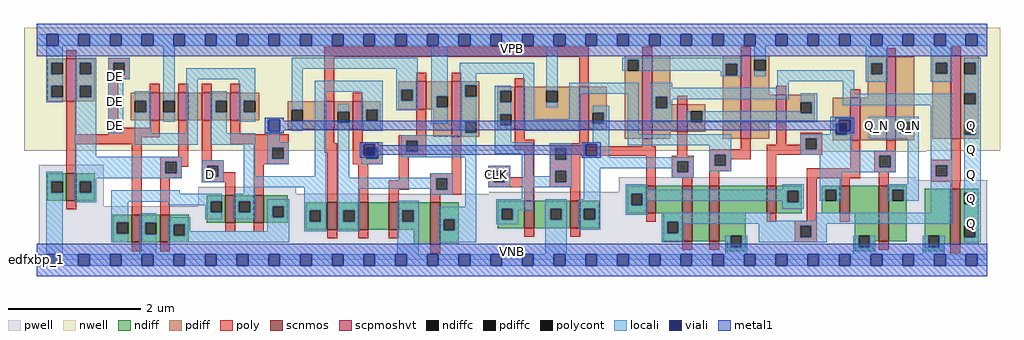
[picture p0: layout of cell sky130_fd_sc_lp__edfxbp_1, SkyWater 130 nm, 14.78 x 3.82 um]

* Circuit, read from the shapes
.subckt sky130_fd_sc_lp__edfxbp_1 CLK D DE VGND VNB VPB VPWR Q Q_N
XM1 n1 DE VGND VNB sky130_fd_pr__nfet_01v8 w=0.42 l=0.15
XM2 VGND DE n2 VNB sky130_fd_pr__nfet_01v8 w=0.42 l=0.15
XM3 n3 n1 VGND VNB sky130_fd_pr__nfet_01v8 w=0.42 l=0.15
XM4 n4 D n2 VNB sky130_fd_pr__nfet_01v8 w=0.42 l=0.15
XM5 n3 n5 n4 VNB sky130_fd_pr__nfet_01v8 w=0.42 l=0.15
XM6 n6 n7 n4 VNB sky130_fd_pr__nfet_01v8 w=0.42 l=0.15
XM7 n8 n9 n6 VNB sky130_fd_pr__nfet_01v8 w=0.42 l=0.15
XM8 VGND n10 n8 VNB sky130_fd_pr__nfet_01v8 w=0.42 l=0.15
XM9 n10 n6 VGND VNB sky130_fd_pr__nfet_01v8 w=0.64 l=0.15
XM10 VGND CLK n7 VNB sky130_fd_pr__nfet_01v8 w=0.42 l=0.15
XM11 n9 n7 VGND VNB sky130_fd_pr__nfet_01v8 w=0.42 l=0.15
XM12 n11 n7 n12 VNB sky130_fd_pr__nfet_01v8 w=0.42 l=0.15
XM13 n13 n9 n11 VNB sky130_fd_pr__nfet_01v8 w=0.84 l=0.15
XM14 VGND n10 n13 VNB sky130_fd_pr__nfet_01v8 w=0.84 l=0.15
XM15 n12 n5 VGND VNB sky130_fd_pr__nfet_01v8 w=0.42 l=0.15
XM16 VGND n11 n5 VNB sky130_fd_pr__nfet_01v8 w=0.42 l=0.15
XM17 Q_N n5 VGND VNB sky130_fd_pr__nfet_01v8 w=0.84 l=0.15
XM18 Q n11 VGND VNB sky130_fd_pr__nfet_01v8 w=0.84 l=0.15
XM19 n1 DE VPWR VPB sky130_fd_pr__pfet_01v8_hvt w=0.64 l=0.15
XM20 VPWR DE n14 VPB sky130_fd_pr__pfet_01v8_hvt w=0.42 l=0.15
XM21 n15 n1 VPWR VPB sky130_fd_pr__pfet_01v8_hvt w=0.42 l=0.15
XM22 n4 D n15 VPB sky130_fd_pr__pfet_01v8_hvt w=0.42 l=0.15
XM23 n14 n5 n4 VPB sky130_fd_pr__pfet_01v8_hvt w=0.42 l=0.15
XM24 n6 n7 n16 VPB sky130_fd_pr__pfet_01v8_hvt w=0.42 l=0.15
XM25 n4 n9 n6 VPB sky130_fd_pr__pfet_01v8_hvt w=0.42 l=0.15
XM26 VPWR n10 n16 VPB sky130_fd_pr__pfet_01v8_hvt w=0.42 l=0.15
XM27 n10 n6 VPWR VPB sky130_fd_pr__pfet_01v8_hvt w=0.84 l=0.15
XM28 VPWR CLK n7 VPB sky130_fd_pr__pfet_01v8_hvt w=0.64 l=0.15
XM29 n9 n7 VPWR VPB sky130_fd_pr__pfet_01v8_hvt w=0.64 l=0.15
XM30 n11 n7 n17 VPB sky130_fd_pr__pfet_01v8_hvt w=1.26 l=0.15
XM31 n18 n9 n11 VPB sky130_fd_pr__pfet_01v8_hvt w=0.42 l=0.15
XM32 VPWR n10 n17 VPB sky130_fd_pr__pfet_01v8_hvt w=1.26 l=0.15
XM33 n18 n5 VPWR VPB sky130_fd_pr__pfet_01v8_hvt w=0.42 l=0.15
XM34 VPWR n11 n5 VPB sky130_fd_pr__pfet_01v8_hvt w=0.64 l=0.15
XM35 Q_N n5 VPWR VPB sky130_fd_pr__pfet_01v8_hvt w=1.26 l=0.15
XM36 Q n11 VPWR VPB sky130_fd_pr__pfet_01v8_hvt w=1.26 l=0.15
.ends

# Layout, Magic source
magic
tech sky130A
magscale 1 2
<< nwell >>
rect -38 331 2918 704
rect 2375 327 2695 331
<< pwell >>
rect 7 163 203 289
rect 1763 241 2662 251
rect 489 201 787 222
rect 1763 206 2879 241
rect 1371 201 2879 206
rect 489 163 2879 201
rect 7 49 2879 163
rect 0 0 2880 49
<< scnmos >>
rect 90 179 120 263
rect 288 53 318 137
rect 374 53 404 137
rect 572 112 602 196
rect 658 112 688 196
rect 880 91 910 175
rect 974 91 1004 175
rect 1067 91 1097 175
rect 1192 47 1222 175
rect 1477 96 1507 180
rect 1617 96 1647 180
rect 1846 141 1876 225
rect 1956 57 1986 225
rect 2038 57 2068 225
rect 2211 141 2241 225
rect 2433 141 2463 225
rect 2551 57 2581 225
rect 2768 47 2798 215
<< scpmoshvt >>
rect 90 481 120 609
rect 343 423 373 507
rect 429 423 459 507
rect 501 423 531 507
rect 587 423 617 507
rect 872 396 902 480
rect 958 396 988 480
rect 1150 457 1180 541
rect 1257 373 1287 541
rect 1449 396 1479 524
rect 1643 396 1673 524
rect 1835 367 1865 619
rect 1941 388 1971 472
rect 2133 367 2163 619
rect 2241 417 2271 501
rect 2465 363 2495 491
rect 2573 363 2603 615
rect 2769 367 2799 619
<< ndiff >>
rect 33 238 90 263
rect 33 204 45 238
rect 79 204 90 238
rect 33 179 90 204
rect 120 238 177 263
rect 120 204 131 238
rect 165 204 177 238
rect 120 179 177 204
rect 515 178 572 196
rect 515 144 527 178
rect 561 144 572 178
rect 231 114 288 137
rect 231 80 243 114
rect 277 80 288 114
rect 231 53 288 80
rect 318 112 374 137
rect 318 78 329 112
rect 363 78 374 112
rect 318 53 374 78
rect 404 108 461 137
rect 515 112 572 144
rect 602 178 658 196
rect 602 144 613 178
rect 647 144 658 178
rect 602 112 658 144
rect 688 163 761 196
rect 1789 200 1846 225
rect 688 129 715 163
rect 749 129 761 163
rect 688 112 761 129
rect 815 150 880 175
rect 815 116 827 150
rect 861 116 880 150
rect 404 74 415 108
rect 449 74 461 108
rect 815 91 880 116
rect 910 150 974 175
rect 910 116 929 150
rect 963 116 974 150
rect 910 91 974 116
rect 1004 91 1067 175
rect 1097 150 1192 175
rect 1097 116 1108 150
rect 1142 116 1192 150
rect 1097 91 1192 116
rect 404 53 461 74
rect 1142 47 1192 91
rect 1222 124 1279 175
rect 1222 90 1233 124
rect 1267 90 1279 124
rect 1397 155 1477 180
rect 1397 121 1409 155
rect 1443 121 1477 155
rect 1397 96 1477 121
rect 1507 155 1617 180
rect 1507 121 1556 155
rect 1590 121 1617 155
rect 1507 96 1617 121
rect 1647 155 1704 180
rect 1647 121 1658 155
rect 1692 121 1704 155
rect 1789 166 1801 200
rect 1835 166 1846 200
rect 1789 141 1846 166
rect 1876 141 1956 225
rect 1647 96 1704 121
rect 1898 115 1956 141
rect 1222 47 1279 90
rect 1898 81 1910 115
rect 1944 81 1956 115
rect 1898 57 1956 81
rect 1986 57 2038 225
rect 2068 141 2211 225
rect 2241 209 2318 225
rect 2241 175 2274 209
rect 2308 175 2318 209
rect 2241 141 2318 175
rect 2068 73 2148 141
rect 2378 213 2433 225
rect 2378 179 2388 213
rect 2422 179 2433 213
rect 2378 141 2433 179
rect 2463 141 2551 225
rect 2068 57 2102 73
rect 2090 39 2102 57
rect 2136 39 2148 73
rect 2478 73 2551 141
rect 2090 27 2148 39
rect 2478 39 2490 73
rect 2524 57 2551 73
rect 2581 213 2636 225
rect 2581 179 2592 213
rect 2626 179 2636 213
rect 2581 57 2636 179
rect 2690 73 2768 215
rect 2524 39 2536 57
rect 2478 27 2536 39
rect 2690 39 2700 73
rect 2734 47 2768 73
rect 2798 203 2853 215
rect 2798 169 2809 203
rect 2843 169 2853 203
rect 2798 103 2853 169
rect 2798 69 2809 103
rect 2843 69 2853 103
rect 2798 47 2853 69
rect 2734 39 2746 47
rect 2690 27 2746 39
<< pdiff >>
rect 33 597 90 609
rect 33 563 45 597
rect 79 563 90 597
rect 33 527 90 563
rect 33 493 45 527
rect 79 493 90 527
rect 33 481 90 493
rect 120 597 177 609
rect 120 563 131 597
rect 165 563 177 597
rect 120 527 177 563
rect 120 493 131 527
rect 165 493 177 527
rect 120 481 177 493
rect 286 482 343 507
rect 286 448 298 482
rect 332 448 343 482
rect 286 423 343 448
rect 373 482 429 507
rect 373 448 384 482
rect 418 448 429 482
rect 373 423 429 448
rect 459 423 501 507
rect 531 482 587 507
rect 531 448 542 482
rect 576 448 587 482
rect 531 423 587 448
rect 617 482 674 507
rect 617 448 628 482
rect 662 448 674 482
rect 1096 516 1150 541
rect 1096 482 1105 516
rect 1139 482 1150 516
rect 617 423 674 448
rect 761 455 872 480
rect 761 421 773 455
rect 807 421 872 455
rect 761 396 872 421
rect 902 449 958 480
rect 902 415 913 449
rect 947 415 958 449
rect 902 396 958 415
rect 988 455 1042 480
rect 1096 457 1150 482
rect 1180 496 1257 541
rect 1180 462 1212 496
rect 1246 462 1257 496
rect 1180 457 1257 462
rect 988 421 999 455
rect 1033 421 1042 455
rect 988 396 1042 421
rect 1202 373 1257 457
rect 1287 529 1341 541
rect 1287 495 1298 529
rect 1332 495 1341 529
rect 1781 607 1835 619
rect 1781 573 1790 607
rect 1824 573 1835 607
rect 1287 419 1341 495
rect 1287 385 1298 419
rect 1332 385 1341 419
rect 1395 512 1449 524
rect 1395 478 1404 512
rect 1438 478 1449 512
rect 1395 442 1449 478
rect 1395 408 1404 442
rect 1438 408 1449 442
rect 1395 396 1449 408
rect 1479 512 1643 524
rect 1479 478 1544 512
rect 1578 478 1643 512
rect 1479 396 1643 478
rect 1673 446 1727 524
rect 1673 412 1684 446
rect 1718 412 1727 446
rect 1673 396 1727 412
rect 1287 373 1341 385
rect 1781 367 1835 573
rect 1865 494 1919 619
rect 2079 594 2133 619
rect 2079 560 2088 594
rect 2122 560 2133 594
rect 1865 460 1876 494
rect 1910 472 1919 494
rect 1910 460 1941 472
rect 1865 388 1941 460
rect 1971 451 2025 472
rect 1971 417 1982 451
rect 2016 417 2025 451
rect 1971 388 2025 417
rect 1865 367 1919 388
rect 2079 367 2133 560
rect 2163 607 2219 619
rect 2163 573 2174 607
rect 2208 573 2219 607
rect 2163 501 2219 573
rect 2517 596 2573 615
rect 2517 562 2528 596
rect 2562 562 2573 596
rect 2163 417 2241 501
rect 2271 478 2357 501
rect 2517 491 2573 562
rect 2271 444 2314 478
rect 2348 444 2357 478
rect 2271 417 2357 444
rect 2163 367 2219 417
rect 2411 413 2465 491
rect 2411 379 2420 413
rect 2454 379 2465 413
rect 2411 363 2465 379
rect 2495 363 2573 491
rect 2603 417 2659 615
rect 2603 383 2614 417
rect 2648 383 2659 417
rect 2603 363 2659 383
rect 2713 598 2769 619
rect 2713 564 2724 598
rect 2758 564 2769 598
rect 2713 367 2769 564
rect 2799 597 2853 619
rect 2799 563 2810 597
rect 2844 563 2853 597
rect 2799 505 2853 563
rect 2799 471 2810 505
rect 2844 471 2853 505
rect 2799 413 2853 471
rect 2799 379 2810 413
rect 2844 379 2853 413
rect 2799 367 2853 379
<< ndiffc >>
rect 45 204 79 238
rect 131 204 165 238
rect 527 144 561 178
rect 243 80 277 114
rect 329 78 363 112
rect 613 144 647 178
rect 715 129 749 163
rect 827 116 861 150
rect 415 74 449 108
rect 929 116 963 150
rect 1108 116 1142 150
rect 1233 90 1267 124
rect 1409 121 1443 155
rect 1556 121 1590 155
rect 1658 121 1692 155
rect 1801 166 1835 200
rect 1910 81 1944 115
rect 2274 175 2308 209
rect 2388 179 2422 213
rect 2102 39 2136 73
rect 2490 39 2524 73
rect 2592 179 2626 213
rect 2700 39 2734 73
rect 2809 169 2843 203
rect 2809 69 2843 103
<< pdiffc >>
rect 45 563 79 597
rect 45 493 79 527
rect 131 563 165 597
rect 131 493 165 527
rect 298 448 332 482
rect 384 448 418 482
rect 542 448 576 482
rect 628 448 662 482
rect 1105 482 1139 516
rect 773 421 807 455
rect 913 415 947 449
rect 1212 462 1246 496
rect 999 421 1033 455
rect 1298 495 1332 529
rect 1790 573 1824 607
rect 1298 385 1332 419
rect 1404 478 1438 512
rect 1404 408 1438 442
rect 1544 478 1578 512
rect 1684 412 1718 446
rect 2088 560 2122 594
rect 1876 460 1910 494
rect 1982 417 2016 451
rect 2174 573 2208 607
rect 2528 562 2562 596
rect 2314 444 2348 478
rect 2420 379 2454 413
rect 2614 383 2648 417
rect 2724 564 2758 598
rect 2810 563 2844 597
rect 2810 471 2844 505
rect 2810 379 2844 413
<< poly >>
rect 90 609 120 635
rect 872 615 1673 645
rect 1835 619 1865 645
rect 2133 619 2163 645
rect 217 597 283 613
rect 217 563 233 597
rect 267 563 283 597
rect 217 547 283 563
rect 90 381 120 481
rect 217 401 247 547
rect 343 507 373 533
rect 429 507 459 533
rect 501 507 531 533
rect 587 507 617 533
rect 872 480 902 615
rect 1150 541 1180 567
rect 1257 541 1287 567
rect 958 480 988 506
rect 343 401 373 423
rect 217 381 373 401
rect 90 371 373 381
rect 90 351 318 371
rect 90 263 120 351
rect 90 153 120 179
rect 288 137 318 351
rect 429 313 459 423
rect 374 297 459 313
rect 374 263 390 297
rect 424 283 459 297
rect 501 302 531 423
rect 587 380 617 423
rect 587 350 764 380
rect 658 340 764 350
rect 658 306 714 340
rect 748 306 764 340
rect 872 354 902 396
rect 958 356 988 396
rect 1150 377 1180 457
rect 1097 361 1180 377
rect 1449 524 1479 550
rect 1643 524 1673 615
rect 872 324 910 354
rect 501 286 567 302
rect 424 263 440 283
rect 374 247 440 263
rect 501 252 517 286
rect 551 266 567 286
rect 658 290 764 306
rect 551 252 602 266
rect 374 137 404 247
rect 501 236 602 252
rect 572 196 602 236
rect 658 196 688 290
rect 880 175 910 324
rect 958 340 1049 356
rect 958 306 999 340
rect 1033 306 1049 340
rect 958 290 1049 306
rect 1097 327 1120 361
rect 1154 327 1180 361
rect 1097 311 1180 327
rect 974 175 1004 290
rect 1097 242 1127 311
rect 1257 263 1287 373
rect 1449 364 1479 396
rect 1449 334 1507 364
rect 1643 354 1673 396
rect 1941 472 1971 498
rect 1067 212 1127 242
rect 1192 247 1287 263
rect 1192 213 1210 247
rect 1244 213 1287 247
rect 1368 270 1434 286
rect 1368 236 1384 270
rect 1418 250 1434 270
rect 1477 250 1507 334
rect 1418 236 1507 250
rect 1368 220 1507 236
rect 1555 345 1673 354
rect 1835 345 1865 367
rect 1555 338 1876 345
rect 1555 304 1571 338
rect 1605 315 1876 338
rect 1941 315 1971 388
rect 2573 615 2603 641
rect 2769 619 2799 645
rect 2241 501 2271 527
rect 2465 491 2495 517
rect 2133 335 2163 367
rect 2241 349 2271 417
rect 2313 369 2379 385
rect 2313 349 2329 369
rect 2038 319 2163 335
rect 1605 304 1647 315
rect 1555 270 1647 304
rect 1555 236 1571 270
rect 1605 236 1647 270
rect 1555 220 1647 236
rect 1846 225 1876 315
rect 1924 299 1990 315
rect 1924 265 1940 299
rect 1974 265 1990 299
rect 1924 249 1990 265
rect 2038 285 2054 319
rect 2088 305 2163 319
rect 2211 335 2329 349
rect 2363 335 2379 369
rect 2211 319 2379 335
rect 2088 285 2104 305
rect 2038 269 2104 285
rect 1956 225 1986 249
rect 2038 225 2068 269
rect 2211 225 2241 319
rect 2465 277 2495 363
rect 2573 331 2603 363
rect 2333 247 2495 277
rect 2537 315 2603 331
rect 2537 281 2553 315
rect 2587 281 2603 315
rect 2769 303 2799 367
rect 2537 265 2603 281
rect 2708 287 2799 303
rect 1067 175 1097 212
rect 1192 197 1287 213
rect 1192 175 1222 197
rect 1477 180 1507 220
rect 1617 180 1647 220
rect 572 86 602 112
rect 658 86 688 112
rect 880 65 910 91
rect 974 65 1004 91
rect 1067 65 1097 91
rect 288 27 318 53
rect 374 27 404 53
rect 1846 115 1876 141
rect 1477 70 1507 96
rect 1617 70 1647 96
rect 2211 115 2241 141
rect 2333 119 2363 247
rect 2433 225 2463 247
rect 2551 225 2581 265
rect 2708 253 2724 287
rect 2758 253 2799 287
rect 2708 237 2799 253
rect 1192 21 1222 47
rect 1956 31 1986 57
rect 2038 31 2068 57
rect 2297 103 2363 119
rect 2433 115 2463 141
rect 2297 69 2313 103
rect 2347 69 2363 103
rect 2297 53 2363 69
rect 2768 215 2798 237
rect 2551 31 2581 57
rect 2768 21 2798 47
<< polycont >>
rect 233 563 267 597
rect 390 263 424 297
rect 714 306 748 340
rect 517 252 551 286
rect 999 306 1033 340
rect 1120 327 1154 361
rect 1210 213 1244 247
rect 1384 236 1418 270
rect 1571 304 1605 338
rect 1571 236 1605 270
rect 1940 265 1974 299
rect 2054 285 2088 319
rect 2329 335 2363 369
rect 2553 281 2587 315
rect 2724 253 2758 287
rect 2313 69 2347 103
<< locali >>
rect 0 649 31 683
rect 65 649 127 683
rect 161 649 223 683
rect 257 649 319 683
rect 353 649 415 683
rect 449 649 511 683
rect 545 649 607 683
rect 641 649 703 683
rect 737 649 799 683
rect 833 649 895 683
rect 929 649 991 683
rect 1025 649 1087 683
rect 1121 649 1183 683
rect 1217 649 1279 683
rect 1313 649 1375 683
rect 1409 649 1471 683
rect 1505 649 1567 683
rect 1601 649 1663 683
rect 1697 649 1759 683
rect 1793 649 1855 683
rect 1889 649 1951 683
rect 1985 649 2047 683
rect 2081 649 2143 683
rect 2177 649 2239 683
rect 2273 649 2335 683
rect 2369 649 2431 683
rect 2465 649 2527 683
rect 2561 649 2623 683
rect 2657 649 2719 683
rect 2753 649 2815 683
rect 2849 649 2880 683
rect 29 597 79 649
rect 29 563 45 597
rect 29 527 79 563
rect 29 493 45 527
rect 29 477 79 493
rect 115 597 181 613
rect 115 563 131 597
rect 165 563 181 597
rect 115 527 181 563
rect 115 493 131 527
rect 165 493 181 527
rect 115 313 181 493
rect 217 597 283 613
rect 217 563 233 597
rect 267 563 283 597
rect 217 547 283 563
rect 217 384 262 547
rect 298 482 348 511
rect 332 448 348 482
rect 298 383 348 448
rect 384 482 418 649
rect 384 419 418 448
rect 454 547 662 581
rect 454 383 488 547
rect 298 349 488 383
rect 526 482 576 511
rect 526 448 542 482
rect 526 383 576 448
rect 612 482 662 547
rect 612 448 628 482
rect 612 419 662 448
rect 773 579 1155 613
rect 773 455 807 579
rect 698 424 737 430
rect 698 390 703 424
rect 773 392 807 421
rect 843 509 1049 543
rect 526 349 662 383
rect 115 297 440 313
rect 29 238 79 267
rect 29 204 45 238
rect 29 17 79 204
rect 115 263 390 297
rect 424 263 440 297
rect 115 247 440 263
rect 501 286 567 302
rect 501 252 517 286
rect 551 252 567 286
rect 115 238 181 247
rect 115 204 131 238
rect 165 204 181 238
rect 501 236 567 252
rect 628 254 662 349
rect 698 356 737 390
rect 698 340 764 356
rect 698 306 714 340
rect 748 306 764 340
rect 698 290 764 306
rect 843 254 877 509
rect 628 220 877 254
rect 115 175 181 204
rect 227 200 433 211
rect 628 200 663 220
rect 227 178 561 200
rect 227 177 527 178
rect 227 114 277 177
rect 399 166 527 177
rect 511 144 527 166
rect 227 80 243 114
rect 227 53 277 80
rect 313 112 363 141
rect 313 78 329 112
rect 313 17 363 78
rect 399 108 465 130
rect 511 123 561 144
rect 597 178 663 200
rect 597 144 613 178
rect 647 144 663 178
rect 597 123 663 144
rect 699 163 765 184
rect 699 129 715 163
rect 749 129 765 163
rect 399 74 415 108
rect 449 87 465 108
rect 699 87 765 129
rect 811 150 877 220
rect 811 116 827 150
rect 861 116 877 150
rect 811 87 877 116
rect 913 449 947 473
rect 913 249 947 415
rect 983 455 1049 509
rect 983 421 999 455
rect 1033 421 1049 455
rect 1089 516 1155 579
rect 1089 482 1105 516
rect 1139 482 1155 516
rect 1089 453 1155 482
rect 1196 496 1246 649
rect 1196 462 1212 496
rect 983 392 1049 421
rect 1196 413 1246 462
rect 1282 564 1508 598
rect 1282 529 1332 564
rect 1282 495 1298 529
rect 1282 419 1332 495
rect 1282 385 1298 419
rect 1282 377 1332 385
rect 1104 361 1332 377
rect 983 350 1049 356
rect 983 316 991 350
rect 1025 340 1049 350
rect 983 306 999 316
rect 1033 306 1049 340
rect 1104 327 1120 361
rect 1154 327 1332 361
rect 1104 311 1332 327
rect 1388 512 1438 528
rect 1388 478 1404 512
rect 1388 442 1438 478
rect 1388 408 1404 442
rect 1388 356 1438 408
rect 1474 426 1508 564
rect 1544 512 1578 649
rect 1774 607 2138 613
rect 1774 573 1790 607
rect 1824 594 2138 607
rect 1824 573 2088 594
rect 2072 560 2088 573
rect 2122 560 2138 594
rect 2072 557 2138 560
rect 2174 607 2208 649
rect 2512 596 2578 649
rect 2174 557 2208 573
rect 2244 541 2476 575
rect 1544 462 1578 478
rect 1614 503 1824 537
rect 1614 426 1648 503
rect 1474 392 1648 426
rect 1684 446 1734 467
rect 1718 412 1734 446
rect 1684 356 1734 412
rect 1388 322 1504 356
rect 983 290 1049 306
rect 1194 249 1260 263
rect 913 247 1260 249
rect 913 215 1210 247
rect 913 150 979 215
rect 1194 213 1210 215
rect 1244 213 1260 247
rect 1194 197 1260 213
rect 913 116 929 150
rect 963 116 979 150
rect 913 87 979 116
rect 1092 150 1158 179
rect 1298 161 1332 311
rect 1368 270 1434 286
rect 1368 236 1384 270
rect 1418 236 1434 270
rect 1368 220 1434 236
rect 1470 254 1504 322
rect 1555 338 1621 354
rect 1555 304 1571 338
rect 1605 304 1621 338
rect 1555 270 1621 304
rect 1555 254 1571 270
rect 1470 236 1571 254
rect 1605 236 1621 270
rect 1470 220 1621 236
rect 1657 350 1734 356
rect 1657 316 1663 350
rect 1697 316 1734 350
rect 1790 381 1824 503
rect 1860 521 1926 537
rect 2244 521 2278 541
rect 1860 494 2278 521
rect 1860 460 1876 494
rect 1910 487 2278 494
rect 1910 460 1926 487
rect 1860 417 1926 460
rect 2314 478 2364 505
rect 1966 417 1982 451
rect 2016 444 2314 451
rect 2348 444 2364 478
rect 2442 503 2476 541
rect 2512 562 2528 596
rect 2562 562 2578 596
rect 2512 539 2578 562
rect 2708 598 2774 649
rect 2708 564 2724 598
rect 2758 564 2774 598
rect 2708 539 2774 564
rect 2810 597 2860 613
rect 2844 563 2860 597
rect 2810 505 2860 563
rect 2442 469 2773 503
rect 2016 417 2364 444
rect 2404 424 2471 433
rect 2404 413 2431 424
rect 2404 381 2420 413
rect 2465 390 2471 424
rect 1790 347 2104 381
rect 1657 311 1734 316
rect 2038 319 2104 347
rect 2313 379 2420 381
rect 2454 379 2471 390
rect 2313 369 2471 379
rect 2313 335 2329 369
rect 2363 335 2471 369
rect 2521 417 2672 433
rect 2521 383 2614 417
rect 2648 383 2672 417
rect 2521 367 2672 383
rect 2313 331 2471 335
rect 2313 319 2602 331
rect 1657 299 1990 311
rect 1657 277 1940 299
rect 1470 184 1504 220
rect 1657 184 1708 277
rect 1924 265 1940 277
rect 1974 265 1990 299
rect 2038 285 2054 319
rect 2088 285 2104 319
rect 2038 269 2104 285
rect 2372 315 2602 319
rect 2372 281 2553 315
rect 2587 281 2602 315
rect 1924 249 1990 265
rect 2372 265 2602 281
rect 1092 116 1108 150
rect 1142 116 1158 150
rect 449 74 765 87
rect 399 53 765 74
rect 1092 17 1158 116
rect 1217 124 1332 161
rect 1217 90 1233 124
rect 1267 90 1332 124
rect 1393 155 1504 184
rect 1393 121 1409 155
rect 1443 150 1504 155
rect 1540 155 1606 184
rect 1443 121 1459 150
rect 1393 108 1459 121
rect 1540 121 1556 155
rect 1590 121 1606 155
rect 1217 53 1332 90
rect 1540 17 1606 121
rect 1642 155 1708 184
rect 1642 121 1658 155
rect 1692 121 1708 155
rect 1785 213 1851 229
rect 2258 213 2324 229
rect 1785 209 2324 213
rect 1785 200 2274 209
rect 1785 166 1801 200
rect 1835 179 2274 200
rect 1835 166 1851 179
rect 1785 137 1851 166
rect 2258 175 2274 179
rect 2308 175 2324 209
rect 2372 213 2438 265
rect 2638 229 2672 367
rect 2372 179 2388 213
rect 2422 179 2438 213
rect 2576 213 2672 229
rect 2576 179 2592 213
rect 2626 179 2672 213
rect 2708 287 2773 469
rect 2844 471 2860 505
rect 2810 430 2860 471
rect 2708 253 2724 287
rect 2758 253 2773 287
rect 2258 155 2324 175
rect 2708 143 2773 253
rect 1642 92 1708 121
rect 1894 119 2222 143
rect 2360 119 2773 143
rect 1894 115 2773 119
rect 1894 81 1910 115
rect 1944 109 2773 115
rect 2809 413 2860 430
rect 2809 379 2810 413
rect 2844 379 2860 413
rect 2809 203 2860 379
rect 2843 169 2860 203
rect 1944 81 1960 109
rect 1894 53 1960 81
rect 2188 103 2394 109
rect 2086 39 2102 73
rect 2136 39 2152 73
rect 2188 69 2313 103
rect 2347 69 2394 103
rect 2809 103 2860 169
rect 2188 53 2394 69
rect 2086 17 2152 39
rect 2474 39 2490 73
rect 2524 39 2540 73
rect 2474 17 2540 39
rect 2684 39 2700 73
rect 2734 39 2750 73
rect 2843 69 2860 103
rect 2809 53 2860 69
rect 2684 17 2750 39
rect 0 -17 31 17
rect 65 -17 127 17
rect 161 -17 223 17
rect 257 -17 319 17
rect 353 -17 415 17
rect 449 -17 511 17
rect 545 -17 607 17
rect 641 -17 703 17
rect 737 -17 799 17
rect 833 -17 895 17
rect 929 -17 991 17
rect 1025 -17 1087 17
rect 1121 -17 1183 17
rect 1217 -17 1279 17
rect 1313 -17 1375 17
rect 1409 -17 1471 17
rect 1505 -17 1567 17
rect 1601 -17 1663 17
rect 1697 -17 1759 17
rect 1793 -17 1855 17
rect 1889 -17 1951 17
rect 1985 -17 2047 17
rect 2081 -17 2143 17
rect 2177 -17 2239 17
rect 2273 -17 2335 17
rect 2369 -17 2431 17
rect 2465 -17 2527 17
rect 2561 -17 2623 17
rect 2657 -17 2719 17
rect 2753 -17 2815 17
rect 2849 -17 2880 17
<< viali >>
rect 31 649 65 683
rect 127 649 161 683
rect 223 649 257 683
rect 319 649 353 683
rect 415 649 449 683
rect 511 649 545 683
rect 607 649 641 683
rect 703 649 737 683
rect 799 649 833 683
rect 895 649 929 683
rect 991 649 1025 683
rect 1087 649 1121 683
rect 1183 649 1217 683
rect 1279 649 1313 683
rect 1375 649 1409 683
rect 1471 649 1505 683
rect 1567 649 1601 683
rect 1663 649 1697 683
rect 1759 649 1793 683
rect 1855 649 1889 683
rect 1951 649 1985 683
rect 2047 649 2081 683
rect 2143 649 2177 683
rect 2239 649 2273 683
rect 2335 649 2369 683
rect 2431 649 2465 683
rect 2527 649 2561 683
rect 2623 649 2657 683
rect 2719 649 2753 683
rect 2815 649 2849 683
rect 703 390 737 424
rect 991 340 1025 350
rect 991 316 999 340
rect 999 316 1025 340
rect 1663 316 1697 350
rect 2431 413 2465 424
rect 2431 390 2454 413
rect 2454 390 2465 413
rect 31 -17 65 17
rect 127 -17 161 17
rect 223 -17 257 17
rect 319 -17 353 17
rect 415 -17 449 17
rect 511 -17 545 17
rect 607 -17 641 17
rect 703 -17 737 17
rect 799 -17 833 17
rect 895 -17 929 17
rect 991 -17 1025 17
rect 1087 -17 1121 17
rect 1183 -17 1217 17
rect 1279 -17 1313 17
rect 1375 -17 1409 17
rect 1471 -17 1505 17
rect 1567 -17 1601 17
rect 1663 -17 1697 17
rect 1759 -17 1793 17
rect 1855 -17 1889 17
rect 1951 -17 1985 17
rect 2047 -17 2081 17
rect 2143 -17 2177 17
rect 2239 -17 2273 17
rect 2335 -17 2369 17
rect 2431 -17 2465 17
rect 2527 -17 2561 17
rect 2623 -17 2657 17
rect 2719 -17 2753 17
rect 2815 -17 2849 17
<< metal1 >>
rect 0 683 2880 715
rect 0 649 31 683
rect 65 649 127 683
rect 161 649 223 683
rect 257 649 319 683
rect 353 649 415 683
rect 449 649 511 683
rect 545 649 607 683
rect 641 649 703 683
rect 737 649 799 683
rect 833 649 895 683
rect 929 649 991 683
rect 1025 649 1087 683
rect 1121 649 1183 683
rect 1217 649 1279 683
rect 1313 649 1375 683
rect 1409 649 1471 683
rect 1505 649 1567 683
rect 1601 649 1663 683
rect 1697 649 1759 683
rect 1793 649 1855 683
rect 1889 649 1951 683
rect 1985 649 2047 683
rect 2081 649 2143 683
rect 2177 649 2239 683
rect 2273 649 2335 683
rect 2369 649 2431 683
rect 2465 649 2527 683
rect 2561 649 2623 683
rect 2657 649 2719 683
rect 2753 649 2815 683
rect 2849 649 2880 683
rect 0 617 2880 649
rect 691 424 749 430
rect 691 390 703 424
rect 737 421 749 424
rect 2419 424 2477 430
rect 2419 421 2431 424
rect 737 393 2431 421
rect 737 390 749 393
rect 691 384 749 390
rect 2419 390 2431 393
rect 2465 390 2477 424
rect 2419 384 2477 390
rect 979 350 1037 356
rect 979 316 991 350
rect 1025 347 1037 350
rect 1651 350 1709 356
rect 1651 347 1663 350
rect 1025 319 1663 347
rect 1025 316 1037 319
rect 979 310 1037 316
rect 1651 316 1663 319
rect 1697 316 1709 350
rect 1651 310 1709 316
rect 0 17 2880 49
rect 0 -17 31 17
rect 65 -17 127 17
rect 161 -17 223 17
rect 257 -17 319 17
rect 353 -17 415 17
rect 449 -17 511 17
rect 545 -17 607 17
rect 641 -17 703 17
rect 737 -17 799 17
rect 833 -17 895 17
rect 929 -17 991 17
rect 1025 -17 1087 17
rect 1121 -17 1183 17
rect 1217 -17 1279 17
rect 1313 -17 1375 17
rect 1409 -17 1471 17
rect 1505 -17 1567 17
rect 1601 -17 1663 17
rect 1697 -17 1759 17
rect 1793 -17 1855 17
rect 1889 -17 1951 17
rect 1985 -17 2047 17
rect 2081 -17 2143 17
rect 2177 -17 2239 17
rect 2273 -17 2335 17
rect 2369 -17 2431 17
rect 2465 -17 2527 17
rect 2561 -17 2623 17
rect 2657 -17 2719 17
rect 2753 -17 2815 17
rect 2849 -17 2880 17
rect 0 -49 2880 -17
<< labels >>
flabel pwell s 0 0 2880 49 0 FreeSans 200 0 0 0 VNB
port 5 nsew ground bidirectional
flabel nwell s 0 617 2880 666 0 FreeSans 200 0 0 0 VPB
port 6 nsew power bidirectional
rlabel comment s 0 0 0 0 4 edfxbp_1
flabel metal1 s 0 617 2880 666 0 FreeSans 340 0 0 0 VPWR
port 7 nsew power bidirectional
flabel metal1 s 0 0 2880 49 0 FreeSans 340 0 0 0 VGND
port 4 nsew ground bidirectional
flabel locali s 511 242 545 276 0 FreeSans 340 0 0 0 D
port 2 nsew signal input
flabel locali s 2815 94 2849 128 0 FreeSans 340 0 0 0 Q
port 8 nsew signal output
flabel locali s 2815 168 2849 202 0 FreeSans 340 0 0 0 Q
port 8 nsew signal output
flabel locali s 2815 242 2849 276 0 FreeSans 340 0 0 0 Q
port 8 nsew signal output
flabel locali s 2815 316 2849 350 0 FreeSans 340 0 0 0 Q
port 8 nsew signal output
flabel locali s 2815 390 2849 424 0 FreeSans 340 0 0 0 Q
port 8 nsew signal output
flabel locali s 223 390 257 424 0 FreeSans 340 0 0 0 DE
port 3 nsew signal input
flabel locali s 223 464 257 498 0 FreeSans 340 0 0 0 DE
port 3 nsew signal input
flabel locali s 223 538 257 572 0 FreeSans 340 0 0 0 DE
port 3 nsew signal input
flabel locali s 2527 390 2561 424 0 FreeSans 340 0 0 0 Q_N
port 9 nsew signal output
flabel locali s 2623 390 2657 424 0 FreeSans 340 0 0 0 Q_N
port 9 nsew signal output
flabel locali s 1375 242 1409 276 0 FreeSans 340 0 0 0 CLK
port 1 nsew clock input
<< properties >>
string LEFsite unit
string LEFclass CORE
string FIXED_BBOX 0 0 2880 666
string GDS_FILE $PDKPATH/libs.ref/sky130_fd_sc_lp/gds/sky130_fd_sc_lp.gds
string LEFsymmetry X Y R90
string GDS_END 3124154
string GDS_START 3104926
<< end >>
